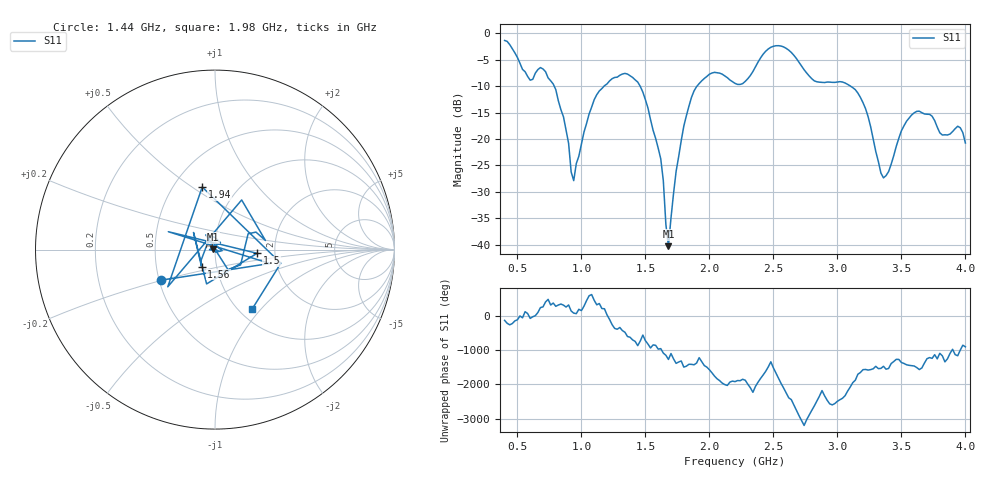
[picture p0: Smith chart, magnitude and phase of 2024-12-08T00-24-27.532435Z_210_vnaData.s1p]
!Created with skrf (http://scikit-rf.org).
# Hz S RI R 50.0
!freq ReS11 ImS11
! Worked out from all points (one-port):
!   181 points, 400 MHz to 4 GHz, reference 50 ohm
!   lowest |S11| = -40.3 dB at 1.68 GHz (marker M1), VSWR 1.02, Z = 49.1 + j0.218 ohm
!   |S11| at or under -10 dB: 787.9 MHz to 1.176 GHz (388.5 MHz wide, 39.6 % of centre); 1.459 GHz to 1.902 GHz (442.9 MHz wide, 26.3 % of centre); 3.104 GHz to end of sweep
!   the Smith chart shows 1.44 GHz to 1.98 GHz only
!   S11 on the Smith chart (normalised r, x): 1.44 GHz: 0.51, -0.20; 1.5 GHz: 1.61, -0.07; 1.56 GHz: 0.85, -0.16; 1.94 GHz: 0.69, +0.55; 1.98 GHz: 1.14, -0.90
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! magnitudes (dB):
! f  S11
! 400 MHz  -1.3
! 600 MHz  -8.8
! 720 MHz  -7.2
! 860 MHz  -15.8
! 940 MHz  -27.9
! 1.1 GHz  -12.5
! 1.3 GHz  -7.9
! 1.44 GHz  -9.2
! 1.5 GHz  -12.6
! 1.56 GHz  -18.3
! 1.62 GHz  -23.8
! 1.68 GHz  -40.3
! 1.76 GHz  -23.3
! 1.86 GHz  -12.1
! 1.94 GHz  -9.0
! 1.98 GHz  -8.1
! 2.2 GHz  -9.5
! 2.48 GHz  -2.6
! 2.66 GHz  -4.1
! 2.82 GHz  -9.0
! 3.1 GHz  -9.9
! 3.22 GHz  -14.2
! 3.36 GHz  -27.4
! 3.56 GHz  -16.0
! 3.72 GHz  -15.3
! 3.82 GHz  -19.2
! 3.94 GHz  -17.6
! 4 GHz  -20.8
